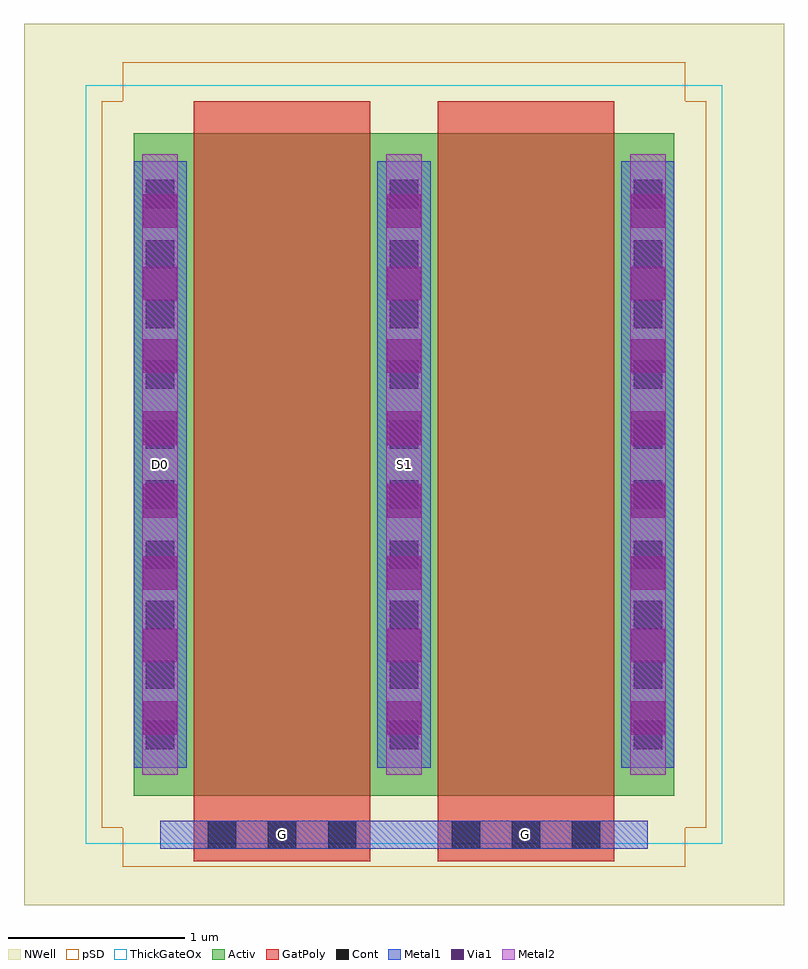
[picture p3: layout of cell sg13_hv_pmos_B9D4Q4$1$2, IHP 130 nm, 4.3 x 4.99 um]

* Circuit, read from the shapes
.subckt sg13_hv_pmos_B9D4Q4$1$2 D0 G S1
XM1 S1 G D0 n1 sg13_hv_pmos w=3.75u l=1u
XM2 n2 G S1 n1 sg13_hv_pmos w=3.75u l=1u
.ends

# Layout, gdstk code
import gdstk
lib = gdstk.Library(unit=1e-6, precision=1e-09)
def R(c, l, rs):  # rectangles x0, y0, x1, y1
    for r in rs: c.add(gdstk.rectangle(r[:2], r[2:], *l))
def A(c, l, x, y, w, h, nx, ny, dx, dy):  # array of equal rectangles
    R(c, l, [(x+i*dx, y+j*dy, x+i*dx+w, y+j*dy+h) for i in range(nx) for j in range(ny)])
Activ = (1, 0)
GatPoly = (5, 0)
Cont = (6, 0)
Metal1 = (8, 0)
Metal2 = (10, 0)
pSD = (14, 0)
Via1 = (19, 0)
NWell = (31, 0)
ThickGateOx = (44, 0)

sg13_hv_pmos_b9d4q4_1_2 = lib.new_cell('sg13_hv_pmos_B9D4Q4$1$2')
R(sg13_hv_pmos_b9d4q4_1_2, Activ, [(-1.53,-1.78,1.53,1.97)])
R(sg13_hv_pmos_b9d4q4_1_2, GatPoly, [(-1.19,-2.15,-0.19,2.15), (0.19,-2.15,1.19,2.15)])
A(sg13_hv_pmos_b9d4q4_1_2, Cont, -1.11, -2.08, 0.16, 0.16, 3, 1, 0.34, 0)
A(sg13_hv_pmos_b9d4q4_1_2, Cont, 0.27, -2.08, 0.16, 0.16, 3, 1, 0.34, 0)
A(sg13_hv_pmos_b9d4q4_1_2, Cont, -1.46, -1.515, 0.16, 0.16, 3, 10, 1.38, 0.34)
A(sg13_hv_pmos_b9d4q4_1_2, Metal1, -1.53, -1.62, 0.3, 3.43, 3, 1, 1.38, 0)
R(sg13_hv_pmos_b9d4q4_1_2, Metal1, [(-1.38,-2.08,1.38,-1.92)])
A(sg13_hv_pmos_b9d4q4_1_2, Metal2, -1.48, -1.66, 0.2, 3.51, 3, 1, 1.38, 0)
R(sg13_hv_pmos_b9d4q4_1_2, pSD, [(-1.59,-2.18,1.59,-1.96), (-1.71,-1.96,1.71,2.15), (-1.59,2.15,1.59,2.37)])
A(sg13_hv_pmos_b9d4q4_1_2, Via1, -1.475, -1.435, 0.19, 0.19, 3, 8, 1.38, 0.41)
R(sg13_hv_pmos_b9d4q4_1_2, NWell, [(-2.15,-2.4,2.15,2.59)])
R(sg13_hv_pmos_b9d4q4_1_2, ThickGateOx, [(-1.8,-2.05,1.8,2.24)])
sg13_hv_pmos_b9d4q4_1_2.add(gdstk.Label('D0', (-1.38,0.095), layer=8, texttype=25))
sg13_hv_pmos_b9d4q4_1_2.add(gdstk.Label('G', (0.69,-2), layer=8, texttype=25))
sg13_hv_pmos_b9d4q4_1_2.add(gdstk.Label('G', (-0.69,-2), layer=8, texttype=25))
sg13_hv_pmos_b9d4q4_1_2.add(gdstk.Label('S1', (0,0.095), layer=8, texttype=25))

lib.write_gds('sg13_hv_pmos_B9D4Q4_1_2.gds')
